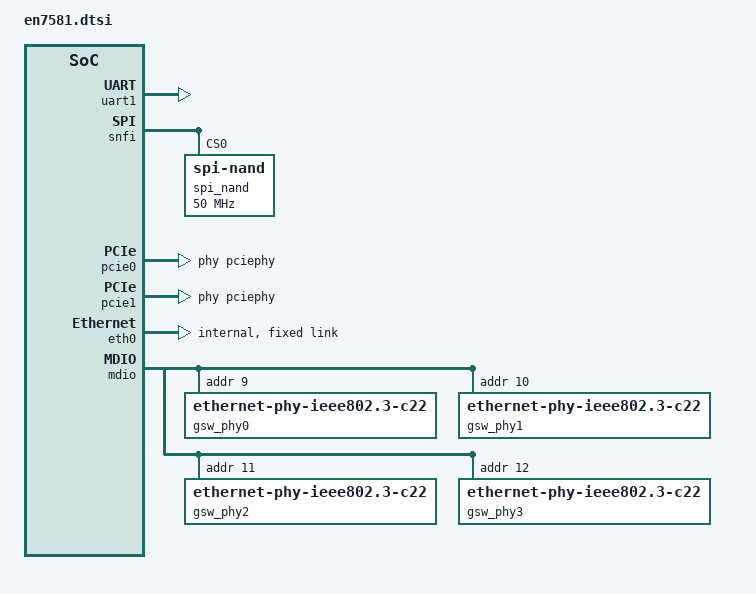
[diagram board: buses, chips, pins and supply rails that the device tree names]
// SPDX-License-Identifier: (GPL-2.0-only OR BSD-2-Clause)

#include <dt-bindings/interrupt-controller/irq.h>
#include <dt-bindings/interrupt-controller/arm-gic.h>
#include <dt-bindings/gpio/gpio.h>
#include <dt-bindings/clock/en7523-clk.h>
#include <dt-bindings/reset/airoha,en7581-reset.h>

/ {
	interrupt-parent = <&gic>;
	#address-cells = <2>;
	#size-cells = <2>;

	reserved-memory {
		#address-cells = <2>;
		#size-cells = <2>;
		ranges;

		npu-binary@84000000 {
			no-map;
			reg = <0x0 0x84000000 0x0 0xa00000>;
		};

		npu-flag@84b0000 {
			no-map;
			reg = <0x0 0x84b00000 0x0 0x100000>;
		};

		npu-pkt@85000000 {
			no-map;
			reg = <0x0 0x85000000 0x0 0x1a00000>;
		};

		npu-phyaddr@86b00000 {
			no-map;
			reg = <0x0 0x86b00000 0x0 0x100000>;
		};

		npu-rxdesc@86d00000 {
			no-map;
			reg = <0x0 0x86d00000 0x0 0x100000>;
		};
	};

	psci {
		compatible = "arm,psci-1.0";
		method = "smc";
	};

	cpus {
		#address-cells = <1>;
		#size-cells = <0>;

		cpu-map {
			cluster0 {
				core0 {
					cpu = <&cpu0>;
				};

				core1 {
					cpu = <&cpu1>;
				};

				core2 {
					cpu = <&cpu2>;
				};

				core3 {
					cpu = <&cpu3>;
				};
			};
		};

		cpu0: cpu@0 {
			device_type = "cpu";
			compatible = "arm,cortex-a53";
			reg = <0x0>;
			enable-method = "psci";
			clock-frequency = <80000000>;
			next-level-cache = <&l2>;
		};

		cpu1: cpu@1 {
			device_type = "cpu";
			compatible = "arm,cortex-a53";
			reg = <0x1>;
			enable-method = "psci";
			clock-frequency = <80000000>;
			next-level-cache = <&l2>;
		};

		cpu2: cpu@2 {
			device_type = "cpu";
			compatible = "arm,cortex-a53";
			reg = <0x2>;
			enable-method = "psci";
			clock-frequency = <80000000>;
			next-level-cache = <&l2>;
		};

		cpu3: cpu@3 {
			device_type = "cpu";
			compatible = "arm,cortex-a53";
			reg = <0x3>;
			enable-method = "psci";
			clock-frequency = <80000000>;
			next-level-cache = <&l2>;
		};

		l2: l2-cache {
			compatible = "cache";
			cache-size = <0x80000>;
			cache-line-size = <64>;
			cache-level = <2>;
			cache-unified;
		};
	};

	timer {
		compatible = "arm,armv8-timer";
		interrupt-parent = <&gic>;
		interrupts = <GIC_PPI 13 IRQ_TYPE_LEVEL_LOW>,
			     <GIC_PPI 14 IRQ_TYPE_LEVEL_LOW>,
			     <GIC_PPI 11 IRQ_TYPE_LEVEL_LOW>,
			     <GIC_PPI 10 IRQ_TYPE_LEVEL_LOW>;
	};

	soc {
		compatible = "simple-bus";
		#address-cells = <2>;
		#size-cells = <2>;
		ranges;

		gic: interrupt-controller@9000000 {
			compatible = "arm,gic-v3";
			interrupt-controller;
			#interrupt-cells = <3>;
			#address-cells = <1>;
			#size-cells = <1>;
			reg = <0x0 0x09000000 0x0 0x20000>,
			      <0x0 0x09080000 0x0 0x80000>,
			      <0x0 0x09400000 0x0 0x2000>,
			      <0x0 0x09500000 0x0 0x2000>,
			      <0x0 0x09600000 0x0 0x20000>;
			interrupts = <GIC_PPI 9 IRQ_TYPE_LEVEL_LOW>;
		};

		uart1: serial@1fbf0000 {
			compatible = "ns16550";
			reg = <0x0 0x1fbf0000 0x0 0x30>;
			reg-io-width = <4>;
			reg-shift = <2>;
			interrupts = <GIC_SPI 18 IRQ_TYPE_LEVEL_HIGH>;
			clock-frequency = <1843200>;
		};

		scuclk: clock-controller@1fa20000 {
			compatible = "airoha,en7581-scu";
			reg = <0x0 0x1fa20000 0x0 0x400>,
			      <0x0 0x1fb00000 0x0 0x1000>,
			      <0x0 0x1fbe3400 0x0 0xfc>;
			#clock-cells = <1>;
			#reset-cells = <1>;
		};

		snfi: spi@1fa10000 {
			compatible = "airoha,en7581-snand";
			reg = <0x0 0x1fa10000 0x0 0x140>,
			      <0x0 0x1fa11000 0x0 0x160>;

			clocks = <&scuclk EN7523_CLK_SPI>;
			clock-names = "spi";

			#address-cells = <1>;
			#size-cells = <0>;
			spi_nand: nand@0 {
				compatible = "spi-nand";
				reg = <0>;
				spi-max-frequency = <50000000>;
				spi-tx-bus-width = <1>;
				spi-rx-bus-width = <2>;
				airoha,bmt;
				partitions {
					compatible =
						"airoha,airoha-partitions";
				};
			};
		};

		gpio0: gpio@1fbf0200 {
			compatible = "airoha,en7523-gpio";
			reg = <0 0x1fbf0204 0 0x4>,
			      <0 0x1fbf0200 0 0x4>,
			      <0 0x1fbf0220 0 0x4>,
			      <0 0x1fbf0214 0 0x4>;
			gpio-controller;
			#gpio-cells = <2>;
		};

		gpio1: gpio@1fbf0270 {
			compatible = "airoha,en7523-gpio";
			reg = <0 0x1fbf0270 0 0x4>,
			      <0 0x1fbf0260 0 0x4>,
			      <0 0x1fbf0264 0 0x4>,
			      <0 0x1fbf0278 0 0x4>;
			gpio-controller;
			#gpio-cells = <2>;
		};

		pciephy: phy@1fa5a000 {
			compatible = "airoha,en7581-pcie-phy";
			reg = <0x0 0x1fa5a000 0x0 0xfff>,
			      <0x0 0x1fa5b000 0x0 0xfff>,
			      <0x0 0x1fa5c000 0x0 0xfff>;
			reg-names = "csr_2l", "pma0", "pma1";
			#phy-cells = <0>;
		};

		pcie0: pcie@1fc00000 {
			compatible = "airoha,en7581-pcie";
			device_type = "pci";
			#address-cells = <3>;
			#size-cells = <2>;

			reg = <0x0 0x1fc00000 0x0 0x20000>;
			reg-names = "pcie-mac";

			clocks = <&scuclk EN7523_CLK_PCIE>;
			clock-names = "sys_ck0";

			phys = <&pciephy>;
			phy-names = "pcie-phy";

			ranges = <0x02000000 0 0x20000000 0x0 0x20000000 0 0x4000000>;

			resets = <&scuclk EN7581_PCIE0_RST>,
				 <&scuclk EN7581_PCIE1_RST>,
				 <&scuclk EN7581_PCIE2_RST>;
			reset-names = "phy_lane0", "phy_lane1", "phy_lane2";

			interrupts = <GIC_SPI 39 IRQ_TYPE_LEVEL_HIGH>;
			bus-range = <0x00 0xff>;
			#interrupt-cells = <1>;
			interrupt-map-mask = <0 0 0 7>;
			interrupt-map = <0 0 0 1 &pcie_intc0 1>,
					<0 0 0 2 &pcie_intc0 2>,
					<0 0 0 3 &pcie_intc0 3>,
					<0 0 0 4 &pcie_intc0 4>;
			pcie_intc0: interrupt-controller {
				interrupt-controller;
				#address-cells = <0>;
				#interrupt-cells = <1>;
			};
		};

		pcie1: pcie@1fc20000 {
			compatible = "airoha,en7581-pcie";
			device_type = "pci";
			#address-cells = <3>;
			#size-cells = <2>;

			reg = <0x0 0x1fc20000 0x0 0x20000>;
			reg-names = "pcie-mac";

			clocks = <&scuclk EN7523_CLK_PCIE>;
			clock-names = "sys_ck1";

			phys = <&pciephy>;
			phy-names = "pcie-phy";

			ranges = <0x02000000 0 0x24000000 0x0 0x24000000 0 0x4000000>;

			resets = <&scuclk EN7581_PCIE0_RST>,
				 <&scuclk EN7581_PCIE1_RST>,
				 <&scuclk EN7581_PCIE2_RST>;
			reset-names = "phy_lane0", "phy_lane1", "phy_lane2";

			interrupts = <GIC_SPI 40 IRQ_TYPE_LEVEL_HIGH>;
			bus-range = <0x00 0xff>;
			#interrupt-cells = <1>;
			interrupt-map-mask = <0 0 0 7>;
			interrupt-map = <0 0 0 1 &pcie_intc1 1>,
					<0 0 0 2 &pcie_intc1 2>,
					<0 0 0 3 &pcie_intc1 3>,
					<0 0 0 4 &pcie_intc1 4>;
			pcie_intc1: interrupt-controller {
				interrupt-controller;
				#address-cells = <0>;
				#interrupt-cells = <1>;
			};
		};

		eth0: ethernet@1fb50000 {
			compatible = "airoha,en7581-eth";
			reg = <0 0x1fb50000 0 0x2600>,
			      <0 0x1fb54000 0 0x4000>;

			resets = <&scuclk EN7581_FE_RST>,
				 <&scuclk EN7581_FE_PDMA_RST>,
				 <&scuclk EN7581_FE_QDMA_RST>;
			reset-names = "fe", "pdma", "qdma";

			interrupts = <GIC_SPI 37 IRQ_TYPE_LEVEL_HIGH>;

			#address-cells = <1>;
			#size-cells = <0>;

			phy-mode = "internal";
			fixed-link {
				speed = <10000>;
				full-duplex;
				pause;
			};
		};

		switch: switch@1fb58000 {
			compatible = "airoha,en7581-switch";
			reg = <0 0x1fb58000 0 0x8000>;
			resets = <&scuclk EN7581_GSW_RST>;

			interrupt-controller;
			#interrupt-cells = <1>;
			interrupt-parent = <&gic>;
			interrupts = <GIC_SPI 209 IRQ_TYPE_LEVEL_HIGH>;

			#address-cells = <1>;
			#size-cells = <1>;

			ports {
				#address-cells = <1>;
				#size-cells = <0>;

				gsw_port0: port@0 {
					reg = <0>;
					label = "lan0";
					phy-mode = "internal";
					phy-handle = <&gsw_phy0>;
				};

				gsw_port1: port@1 {
					reg = <1>;
					label = "lan1";
					phy-mode = "internal";
					phy-handle = <&gsw_phy1>;
				};

				gsw_port2: port@2 {
					reg = <2>;
					label = "lan2";
					phy-mode = "internal";
					phy-handle = <&gsw_phy2>;
				};

				gsw_port3: port@3 {
					reg = <3>;
					label = "lan3";
					phy-mode = "internal";
					phy-handle = <&gsw_phy3>;
				};

				port@6 {
					reg = <6>;
					ethernet = <&eth0>;
					phy-mode = "internal";

					fixed-link {
						speed = <10000>;
						full-duplex;
						pause;
					};
				};
			};

			mdio {
				#address-cells = <1>;
				#size-cells = <0>;

				gsw_phy0: ethernet-phy@0 {
					compatible = "ethernet-phy-ieee802.3-c22";
					reg = <9>;
					phy-mode = "internal";
				};

				gsw_phy1: ethernet-phy@1 {
					compatible = "ethernet-phy-ieee802.3-c22";
					reg = <10>;
					phy-mode = "internal";
				};

				gsw_phy2: ethernet-phy@2 {
					compatible = "ethernet-phy-ieee802.3-c22";
					reg = <11>;
					phy-mode = "internal";
				};

				gsw_phy3: ethernet-phy@3 {
					compatible = "ethernet-phy-ieee802.3-c22";
					reg = <12>;
					phy-mode = "internal";
				};
			};
		};
	};
};
